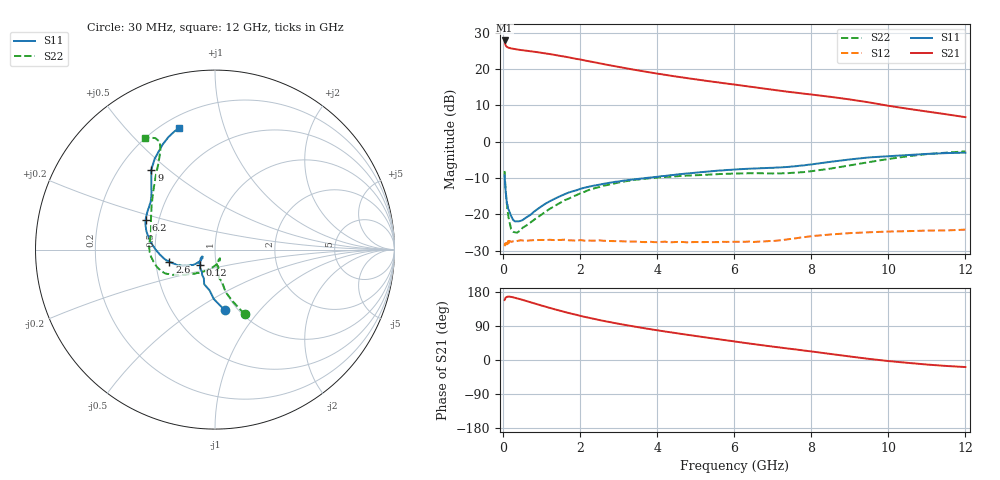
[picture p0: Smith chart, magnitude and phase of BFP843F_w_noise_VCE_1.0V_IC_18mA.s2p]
! Infineon Technologies  Discrete & RF Semiconductors
! BFP843F
! VCE =  1.0 V,  IC =  18 mA
! Common Emitter S-Parameters:  Aug 2013
# GHz  S  MA  R  50
!  f  S11  S21  S12  S22
! GHz  MAG  ANG  MAG  ANG  MAG  ANG  MAG  ANG
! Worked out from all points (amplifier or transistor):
!   103 points, 30 MHz to 12 GHz, reference 50 ohm
!   highest |S21| = 27.8 dB at 30 MHz (marker M1)
!   |S21| within 3 dB of that: start of sweep to 716.8 MHz
!   unconditionally stable (mu >= 1): 135 MHz to 146 MHz; 163.3 MHz to end of sweep
!   at 400 MHz: K = 1.01, MAG = 25.5 dB, |S12| = -27.2 dB
!   at 3.7 GHz: K = 1.21, MAG = 20.7 dB, |S12| = -27.6 dB
!   at 12 GHz: K = 1.26, MAG = 12.4 dB, |S12| = -24.2 dB
!   lowest NFmin = 0.88 dB at 450 MHz
!   S11 on the Smith chart (normalised r, x): 30 MHz: 0.88, -0.67; 120 MHz: 0.83, -0.15; 2.6 GHz: 0.59, -0.09; 6.2 GHz: 0.42, +0.17; 9 GHz: 0.33, +0.44; 12 GHz: 0.26, +0.71
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0.03  0.3428 -80.8  24.67 158.4  0.0365 25.7  0.3951 -65.4
0.04  0.2752 -91.4  22.77 160.1  0.0397 21.3  0.3045 -71.1
0.05  0.2295 -97.5  21.6 163.2  0.0385 19.4  0.2437 -76.0
0.06  0.2018 -107.4  21.06 164.5  0.0397 10.7  0.2041 -77.0
0.08  0.1576 -117.1  20.35 166.1  0.0425 13.6  0.1592 -82.2
0.12  0.1203 -134.2  19.76 167.2  0.0442 7.1  0.1018 -78.9
0.2  0.0948 -148.1  19.16 166.5  0.0419 6.1  0.0626 -72.0
0.8  0.1094 -142.5  17.25 149.5  0.0442 2.2  0.0846 -85.6
1.2  0.1511 -145.3  16.04 137.6  0.0447 2.0  0.1185 -109.0
1.6  0.1903 -152.0  14.76 126.5  0.0449 1.8  0.1573 -124.1
2.1  0.2323 -158.9  13.15 114.0  0.0435 1.4  0.2034 -137.5
2.6  0.263 -165.1  11.67 103.2  0.0433 1.2  0.248 -145.1
3.2  0.2937 -171.5  10.19 91.8  0.0423 1.8  0.2868 -151.3
4.1  0.3354 179.0  8.473 76.8  0.0418 4.1  0.3229 -158.7
5.1  0.3788 168.8  7.07 61.8  0.0415 7.2  0.3468 -168.3
6.1  0.4171 158.4  6.006 47.5  0.042 10.6  0.365 -179.3
6.2  0.4195 157.0  5.904 46.1  0.042 11.3  0.3659 179.5
7.3  0.4461 143.6  4.928 31.4  0.0447 18.8  0.3677 166.4
8.5  0.5282 132.2  4.133 15.9  0.0529 19.0  0.4263 146.1
9  0.5697 128.5  3.807 9.3  0.0552 17.6  0.4718 136.9
10.5  0.6541 116.5  2.838 -7.5  0.0587 15.5  0.629 118.9
12  0.7063 106.6  2.173 -18.6  0.0616 16.9  0.7355 121.9
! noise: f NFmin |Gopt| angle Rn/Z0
0.45  0.88  0.03  174  0.07
0.9  0.88  0.04  164  0.08
1.5  0.92  0.05  160  0.09
1.9  0.96  0.06  161  0.09
2.4  1  0.08  167  0.1
3.5  1.05  0.11  175  0.15
5.5  1.15  0.2  -150  0.21
10  1.67  0.38  -106  0.32
